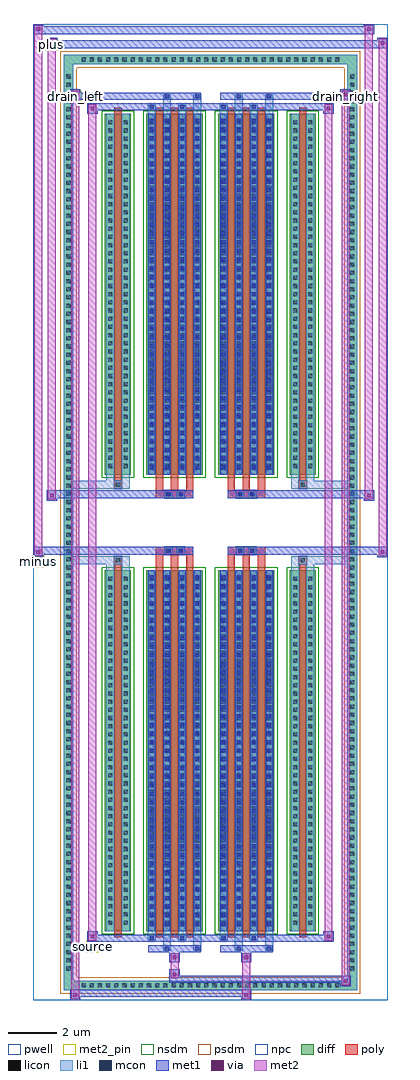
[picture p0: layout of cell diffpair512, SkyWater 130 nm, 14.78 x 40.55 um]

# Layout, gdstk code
import gdstk
lib = gdstk.Library(unit=1e-6, precision=5e-09)
def R(c, l, rs):  # rectangles x0, y0, x1, y1
    for r in rs: c.add(gdstk.rectangle(r[:2], r[2:], *l))
def A(c, l, x, y, w, h, nx, ny, dx, dy):  # array of equal rectangles
    R(c, l, [(x+i*dx, y+j*dy, x+i*dx+w, y+j*dy+h) for i in range(nx) for j in range(ny)])
def P(c, l, *ps):  # polygons
    for p in ps: c.add(gdstk.Polygon(p, *l))
pwell = (64, 44)
diff = (65, 20)
poly = (66, 20)
licon = (66, 44)
li1 = (67, 20)
mcon = (67, 44)
met1 = (68, 20)
via = (68, 44)
met2_pin = (69, 16)
met2 = (69, 20)
nsdm = (93, 44)
psdm = (94, 20)
npc = (95, 20)

diffpair512 = lib.new_cell('diffpair512')
R(diffpair512, pwell, [(-7.37,-19.84,7.37,20.71), (-4.69,-18.03,-0.01,-0.805), (0.01,-18.03,4.69,-0.805), (-4.69,0.805,-0.01,18.03), (0.01,0.805,4.69,18.03)])
A(diffpair512, diff, -5.475, -19.44, 0.41, 0.41, 32, 2, 0.34, 38.47)
A(diffpair512, diff, -6.1, -18.735, 0.41, 0.41, 1, 110, 0, 0.34)
A(diffpair512, diff, 5.69, -18.735, 0.41, 0.41, 1, 110, 0, 0.34)
R(diffpair512, diff, [(-5.475,-19.44,5.475,-19.03), (-6.1,-18.735,-5.69,18.735), (5.69,-18.735,6.1,18.735), (-4.38,-16.985,-3.3,-1.985), (-2.66,-16.985,-0.32,-1.985), (0.32,-16.985,2.66,-1.985), (3.3,-16.985,4.38,-1.985), (-4.38,1.985,-3.3,16.985), (-2.66,1.985,-0.32,16.985), (0.32,1.985,2.66,16.985), (3.3,1.985,4.38,16.985), (-5.475,19.03,5.475,19.44)])
P(diffpair512, diff, [(6.1,19.44),(-6.1,19.44),(-6.1,-19.03),(-5.69,-19.03),(-5.69,19.03),(5.69,19.03),(5.69,-19.03),(-5.69,-19.03),(-6.1,-19.03),(-6.1,-19.44),(6.1,-19.44)])
A(diffpair512, poly, -2.27, -17.235, 0.3, 15.5, 3, 2, 0.63, 18.97)
A(diffpair512, poly, 0.71, -17.235, 0.3, 15.5, 3, 2, 0.63, 18.97)
A(diffpair512, poly, -2.27, -1.735, 0.3, 0.4, 3, 2, 0.63, 3.07)
A(diffpair512, poly, 0.71, -1.735, 0.3, 0.4, 3, 2, 0.63, 3.07)
R(diffpair512, poly, [(-3.99,-17.235,-3.69,-1.735), (3.69,-17.235,3.99,-1.735), (-4.005,-1.735,-3.675,-1.405), (-4.005,-1.735,-3.675,-1.405), (3.675,-1.735,4.005,-1.405), (3.675,-1.735,4.005,-1.405), (-2.27,-1.335,-0.71,-1.005), (-1.905,-1.335,-1.575,-1.005), (-1.405,-1.335,-1.075,-1.005), (0.71,-1.335,2.27,-1.005), (1.075,-1.335,1.405,-1.005), (1.575,-1.335,1.905,-1.005), (-2.27,1.005,-0.71,1.335), (-1.905,1.005,-1.575,1.335), (-1.405,1.005,-1.075,1.335), (0.71,1.005,2.27,1.335), (1.075,1.005,1.405,1.335), (1.575,1.005,1.905,1.335), (-4.005,1.405,-3.675,1.735), (-4.005,1.405,-3.675,1.735), (3.675,1.405,4.005,1.735), (3.675,1.405,4.005,1.735), (-3.99,1.735,-3.69,17.235), (3.69,1.735,3.99,17.235)])
A(diffpair512, licon, -5.355, -19.32, 0.17, 0.17, 32, 2, 0.34, 38.47)
A(diffpair512, licon, -5.98, -18.615, 0.17, 0.17, 1, 110, 0, 0.34)
A(diffpair512, licon, 5.81, -18.615, 0.17, 0.17, 1, 110, 0, 0.34)
A(diffpair512, licon, -4.24, -16.71, 0.17, 0.17, 1, 43, 0, 0.34)
A(diffpair512, licon, -3.61, -16.71, 0.17, 0.17, 1, 43, 0, 0.34)
A(diffpair512, licon, -2.52, -16.71, 0.17, 0.17, 4, 43, 0.63, 0.34)
A(diffpair512, licon, 0.46, -16.71, 0.17, 0.17, 4, 43, 0.63, 0.34)
A(diffpair512, licon, 3.44, -16.71, 0.17, 0.17, 1, 43, 0, 0.34)
A(diffpair512, licon, 4.07, -16.71, 0.17, 0.17, 1, 43, 0, 0.34)
A(diffpair512, licon, -4.24, 2.26, 0.17, 0.17, 1, 43, 0, 0.34)
A(diffpair512, licon, -3.61, 2.26, 0.17, 0.17, 1, 43, 0, 0.34)
A(diffpair512, licon, -2.52, 2.26, 0.17, 0.17, 4, 43, 0.63, 0.34)
A(diffpair512, licon, 0.46, 2.26, 0.17, 0.17, 4, 43, 0.63, 0.34)
A(diffpair512, licon, 3.44, 2.26, 0.17, 0.17, 1, 43, 0, 0.34)
A(diffpair512, licon, 4.07, 2.26, 0.17, 0.17, 1, 43, 0, 0.34)
R(diffpair512, licon, [(-3.925,-1.655,-3.755,-1.485), (3.755,-1.655,3.925,-1.485), (-1.825,-1.255,-1.655,-1.085), (-1.325,-1.255,-1.155,-1.085), (1.155,-1.255,1.325,-1.085), (1.655,-1.255,1.825,-1.085), (-1.825,1.085,-1.655,1.255), (-1.325,1.085,-1.155,1.255), (1.155,1.085,1.325,1.255), (1.655,1.085,1.825,1.255), (-3.925,1.485,-3.755,1.655), (3.755,1.485,3.925,1.655)])
A(diffpair512, li1, -5.435, -19.4, 0.33, 0.33, 32, 2, 0.34, 38.47)
A(diffpair512, li1, -6.06, -18.695, 0.33, 0.33, 1, 110, 0, 0.34)
A(diffpair512, li1, 5.73, -18.695, 0.33, 0.33, 1, 110, 0, 0.34)
A(diffpair512, li1, -2.6, -16.985, 0.33, 15, 4, 2, 0.63, 18.97)
A(diffpair512, li1, 0.38, -16.985, 0.33, 15, 4, 2, 0.63, 18.97)
A(diffpair512, li1, -4.32, -16.79, 0.33, 0.33, 1, 43, 0, 0.34)
A(diffpair512, li1, -3.69, -16.79, 0.33, 0.33, 1, 43, 0, 0.34)
A(diffpair512, li1, -2.6, -16.79, 0.33, 0.33, 4, 43, 0.63, 0.34)
A(diffpair512, li1, 0.38, -16.79, 0.33, 0.33, 4, 43, 0.63, 0.34)
A(diffpair512, li1, 3.36, -16.79, 0.33, 0.33, 1, 43, 0, 0.34)
A(diffpair512, li1, 3.99, -16.79, 0.33, 0.33, 1, 43, 0, 0.34)
A(diffpair512, li1, -2.52, -16.77, 0.17, 0.17, 4, 41, 0.63, 0.36)
A(diffpair512, li1, -2.52, -16.77, 0.17, 14.57, 4, 2, 0.63, 18.97)
A(diffpair512, li1, 0.46, -16.77, 0.17, 0.17, 4, 41, 0.63, 0.36)
A(diffpair512, li1, 0.46, -16.77, 0.17, 14.57, 4, 2, 0.63, 18.97)
A(diffpair512, li1, -4.32, 2.18, 0.33, 0.33, 1, 43, 0, 0.34)
A(diffpair512, li1, -3.69, 2.18, 0.33, 0.33, 1, 43, 0, 0.34)
A(diffpair512, li1, -2.6, 2.18, 0.33, 0.33, 4, 43, 0.63, 0.34)
A(diffpair512, li1, 0.38, 2.18, 0.33, 0.33, 4, 43, 0.63, 0.34)
A(diffpair512, li1, 3.36, 2.18, 0.33, 0.33, 1, 43, 0, 0.34)
A(diffpair512, li1, 3.99, 2.18, 0.33, 0.33, 1, 43, 0, 0.34)
A(diffpair512, li1, -2.52, 2.2, 0.17, 0.17, 4, 41, 0.63, 0.36)
A(diffpair512, li1, 0.46, 2.2, 0.17, 0.17, 4, 41, 0.63, 0.36)
R(diffpair512, li1, [(-6.1,-19.44,-5.69,-19.03), (-6.1,-19.44,-5.69,-19.03), (-5.69,-19.44,5.69,-19.03), (5.69,-19.44,6.1,-19.03), (5.69,-19.44,6.1,-19.03), (-6.1,-19.03,-5.69,19.03), (5.69,-19.03,6.1,19.03), (-1.97,-17.79,-1.64,-16.985), (-1.89,-17.79,-1.72,-17.62), (-0.71,-17.79,-0.38,-16.985), (-0.63,-17.79,-0.46,-17.62), (1.01,-17.79,1.34,-16.985), (1.09,-17.79,1.26,-17.62), (2.27,-17.79,2.6,-16.985), (2.35,-17.79,2.52,-17.62), (-2.6,-17.36,-2.27,-16.985), (-2.52,-17.36,-2.35,-17.19), (-1.34,-17.36,-1.01,-16.985), (-1.26,-17.36,-1.09,-17.19), (0.38,-17.36,0.71,-16.985), (0.46,-17.36,0.63,-17.19), (1.64,-17.36,1.97,-16.985), (1.72,-17.36,1.89,-17.19), (-4.32,-16.985,-3.99,-1.985), (-3.69,-16.985,-3.36,-1.985), (3.36,-16.985,3.69,-1.985), (3.99,-16.985,4.32,-1.985), (-4.32,-1.985,-3.99,-1.405), (-3.69,-1.985,-3.36,-1.405), (3.36,-1.985,3.69,-1.405), (3.99,-1.985,4.32,-1.405), (-6.1,-1.735,-4.005,-1.405), (-4.32,-1.735,-4.005,-1.405), (-4.005,-1.735,-3.675,-1.405), (-3.675,-1.735,-3.36,-1.405), (3.36,-1.735,3.675,-1.405), (3.675,-1.735,4.005,-1.405), (3.675,-1.735,6.1,-1.405), (4.005,-1.735,4.32,-1.405), (-1.905,-1.335,-1.575,-1.005), (-1.405,-1.335,-1.075,-1.005), (1.075,-1.335,1.405,-1.005), (1.575,-1.335,1.905,-1.005), (-1.905,1.005,-1.575,1.335), (-1.405,1.005,-1.075,1.335), (1.075,1.005,1.405,1.335), (1.575,1.005,1.905,1.335), (-6.1,1.405,-4.005,1.735), (-4.32,1.405,-4.005,1.735), (-4.32,1.405,-3.99,1.985), (-4.005,1.405,-3.675,1.735), (-3.69,1.405,-3.36,1.985), (-3.675,1.405,-3.36,1.735), (3.36,1.405,3.675,1.735), (3.36,1.405,3.69,1.985), (3.675,1.405,4.005,1.735), (3.675,1.405,6.1,1.735), (3.99,1.405,4.32,1.985), (4.005,1.405,4.32,1.735), (-4.32,1.985,-3.99,16.985), (-3.69,1.985,-3.36,16.985), (3.36,1.985,3.69,16.985), (3.99,1.985,4.32,16.985), (-2.6,16.985,-2.27,17.36), (-1.97,16.985,-1.64,17.79), (-1.34,16.985,-1.01,17.36), (-0.71,16.985,-0.38,17.79), (0.38,16.985,0.71,17.36), (1.01,16.985,1.34,17.79), (1.64,16.985,1.97,17.36), (2.27,16.985,2.6,17.79), (-2.52,17.19,-2.35,17.36), (-1.26,17.19,-1.09,17.36), (0.46,17.19,0.63,17.36), (1.72,17.19,1.89,17.36), (-1.89,17.62,-1.72,17.79), (-0.63,17.62,-0.46,17.79), (1.09,17.62,1.26,17.79), (2.35,17.62,2.52,17.79), (-6.1,19.03,-5.69,19.44), (-6.1,19.03,-5.69,19.44), (-5.69,19.03,5.69,19.44), (5.69,19.03,6.1,19.44), (5.69,19.03,6.1,19.44)])
A(diffpair512, mcon, -2.52, -16.77, 0.17, 0.17, 4, 41, 0.63, 0.36)
A(diffpair512, mcon, 0.46, -16.77, 0.17, 0.17, 4, 41, 0.63, 0.36)
A(diffpair512, mcon, -2.52, 2.2, 0.17, 0.17, 4, 41, 0.63, 0.36)
A(diffpair512, mcon, 0.46, 2.2, 0.17, 0.17, 4, 41, 0.63, 0.36)
R(diffpair512, mcon, [(-1.89,-17.79,-1.72,-17.62), (-0.63,-17.79,-0.46,-17.62), (1.09,-17.79,1.26,-17.62), (2.35,-17.79,2.52,-17.62), (-2.52,-17.36,-2.35,-17.19), (-1.26,-17.36,-1.09,-17.19), (0.46,-17.36,0.63,-17.19), (1.72,-17.36,1.89,-17.19), (-1.825,-1.255,-1.655,-1.085), (-1.325,-1.255,-1.155,-1.085), (1.155,-1.255,1.325,-1.085), (1.655,-1.255,1.825,-1.085), (-1.825,1.085,-1.655,1.255), (-1.325,1.085,-1.155,1.255), (1.155,1.085,1.325,1.255), (1.655,1.085,1.825,1.255), (-2.52,17.19,-2.35,17.36), (-1.26,17.19,-1.09,17.36), (0.46,17.19,0.63,17.36), (1.72,17.19,1.89,17.36), (-1.89,17.62,-1.72,17.79), (-0.63,17.62,-0.46,17.79), (1.09,17.62,1.26,17.79), (2.35,17.62,2.52,17.79)])
A(diffpair512, met1, -2.58, -16.985, 0.29, 15, 4, 2, 0.63, 18.97)
A(diffpair512, met1, 0.4, -16.985, 0.29, 15, 4, 2, 0.63, 18.97)
A(diffpair512, met1, -2.58, -16.83, 0.29, 0.29, 4, 41, 0.63, 0.36)
A(diffpair512, met1, 0.4, -16.83, 0.29, 0.29, 4, 41, 0.63, 0.36)
A(diffpair512, met1, -2.58, 2.14, 0.29, 0.29, 4, 41, 0.63, 0.36)
A(diffpair512, met1, 0.4, 2.14, 0.29, 0.29, 4, 41, 0.63, 0.36)
R(diffpair512, met1, [(-5.83,-19.84,-5.4,-19.41), (1.275,-19.84,1.705,-19.41), (-5.83,-19.7,1.705,-19.41), (5.4,-19.27,5.83,-18.84), (-1.705,-19.13,5.83,-18.84), (-1.705,-18.99,-1.275,-18.56), (-1.705,-18.28,-1.275,-17.85), (1.275,-18.28,1.705,-17.85), (-2.58,-17.85,-0.4,-17.56), (-1.95,-17.85,-1.66,-17.56), (-0.69,-17.85,-0.4,-17.56), (0.4,-17.85,2.58,-17.56), (1.03,-17.85,1.32,-17.56), (2.29,-17.85,2.58,-17.56), (-5.12,-17.42,-4.69,-16.99), (-5.12,-17.42,-2.58,-17.13), (-2.58,-17.42,-2.29,-17.13), (-2.58,-17.42,-0.4,-17.13), (-1.32,-17.42,-1.03,-17.13), (-0.4,-17.42,0.4,-17.13), (0.4,-17.42,0.69,-17.13), (0.4,-17.42,2.58,-17.13), (1.66,-17.42,1.95,-17.13), (2.58,-17.42,5.12,-17.13), (4.69,-17.42,5.12,-16.99), (-7.37,-1.435,-6.94,-1.005), (6.94,-1.435,7.37,-1.005), (-7.37,-1.335,-0.71,-1.005), (-2.27,-1.335,-0.71,-1.005), (0.71,-1.335,2.27,-1.005), (0.71,-1.335,7.37,-1.005), (-1.885,-1.315,-1.595,-1.025), (-1.385,-1.315,-1.095,-1.025), (1.095,-1.315,1.385,-1.025), (1.595,-1.315,1.885,-1.025), (-6.8,0.905,-6.37,1.335), (6.37,0.905,6.8,1.335), (-6.8,1.005,-2.27,1.335), (-2.27,1.005,-0.71,1.335), (0.71,1.005,2.27,1.335), (2.27,1.005,6.8,1.335), (-1.885,1.025,-1.595,1.315), (-1.385,1.025,-1.095,1.315), (1.095,1.025,1.385,1.315), (1.595,1.025,1.885,1.315), (-5.12,16.99,-4.69,17.42), (4.69,16.99,5.12,17.42), (-5.12,17.13,-2.58,17.42), (-2.58,17.13,-2.29,17.42), (-2.58,17.13,-0.4,17.42), (-1.32,17.13,-1.03,17.42), (-0.4,17.13,0.4,17.42), (0.4,17.13,0.69,17.42), (0.4,17.13,2.58,17.42), (1.66,17.13,1.95,17.42), (2.58,17.13,5.12,17.42), (-5.83,17.56,-5.4,17.99), (-5.83,17.56,-2.58,17.85), (-2.58,17.56,-0.4,17.85), (-1.95,17.56,-1.66,17.85), (-0.69,17.56,-0.4,17.85), (0.4,17.56,2.58,17.85), (1.03,17.56,1.32,17.85), (2.29,17.56,2.58,17.85), (2.58,17.56,5.83,17.85), (5.4,17.56,5.83,17.99), (-6.8,19.71,-6.37,20.14), (-6.8,19.71,-4.69,20.04), (-4.69,19.71,4.69,20.04), (4.69,19.71,7.37,20.04), (6.94,19.71,7.37,20.14), (-7.37,20.28,-6.94,20.71), (-7.37,20.28,-4.69,20.61), (-4.69,20.28,4.69,20.61), (4.69,20.28,6.8,20.61), (6.37,20.28,6.8,20.71)])
R(diffpair512, via, [(-5.69,-19.7,-5.54,-19.55), (1.415,-19.7,1.565,-19.55), (5.54,-19.13,5.69,-18.98), (-1.565,-18.85,-1.415,-18.7), (-1.565,-18.14,-1.415,-17.99), (1.415,-18.14,1.565,-17.99), (-4.98,-17.28,-4.83,-17.13), (4.83,-17.28,4.98,-17.13), (-7.23,-1.295,-7.08,-1.145), (7.08,-1.295,7.23,-1.145), (-6.66,1.045,-6.51,1.195), (6.51,1.045,6.66,1.195), (-4.98,17.13,-4.83,17.28), (4.83,17.13,4.98,17.28), (-5.69,17.7,-5.54,17.85), (5.54,17.7,5.69,17.85), (-6.66,19.85,-6.51,20), (7.08,19.85,7.23,20), (-7.23,20.42,-7.08,20.57), (6.51,20.42,6.66,20.57)])
R(diffpair512, met2_pin, [(-5.155,-17.87,-4.655,-17.37), (-7.405,-1.885,-6.905,-1.385), (-5.865,17.44,-5.365,17.94), (5.365,17.44,5.865,17.94), (-6.835,19.59,-6.335,20.09)])
R(diffpair512, met2, [(-5.78,-19.79,-5.45,-19.46), (-5.78,-19.79,-5.45,17.94), (1.325,-19.79,1.655,-19.46), (1.325,-19.46,1.655,-18.23), (5.45,-19.22,5.78,-18.89), (5.45,-19.22,5.78,17.94), (-1.655,-18.94,-1.325,-18.61), (-1.655,-18.61,-1.325,-18.23), (-1.655,-18.23,-1.325,-17.9), (1.325,-18.23,1.655,-17.9), (-5.07,-17.37,-4.74,-17.04), (-5.07,-17.37,-4.74,17.37), (4.74,-17.37,5.07,-17.04), (4.74,-17.37,5.07,17.37), (-7.32,-1.385,-6.99,-1.055), (-7.32,-1.385,-6.99,20.66), (6.99,-1.385,7.32,-1.055), (6.99,-1.385,7.32,20.09), (-6.75,0.955,-6.42,1.285), (-6.75,0.955,-6.42,20.09), (6.42,0.955,6.75,1.285), (6.42,0.955,6.75,20.66), (-5.07,17.04,-4.74,17.37), (4.74,17.04,5.07,17.37), (-5.78,17.61,-5.45,17.94), (5.45,17.61,5.78,17.94), (-6.75,19.76,-6.42,20.09), (6.99,19.76,7.32,20.09), (-7.32,20.33,-6.99,20.66), (6.42,20.33,6.75,20.66)])
P(diffpair512, met2, [(7.32,-1.385),(7.32,-1.385),(7.32,-1.055),(7.32,-1.055)],
  [(7.32,19.76),(7.32,19.76),(7.32,20.09),(7.32,20.09)],
  [(-6.99,-1.385),(-6.99,-1.385),(-6.99,-1.055),(-6.99,-1.055)],
  [(-6.99,20.33),(-6.99,20.33),(-6.99,20.66),(-6.99,20.66)],
  [(6.75,0.955),(6.75,0.955),(6.75,1.285),(6.75,1.285)],
  [(6.75,20.33),(6.75,20.33),(6.75,20.66),(6.75,20.66)],
  [(-6.42,0.955),(-6.42,0.955),(-6.42,1.285),(-6.42,1.285)],
  [(-6.42,19.76),(-6.42,19.76),(-6.42,20.09),(-6.42,20.09)],
  [(-5.45,-19.79),(-5.45,-19.79),(-5.45,-19.46),(-5.45,-19.46)],
  [(-5.45,17.61),(-5.45,17.61),(-5.45,17.94),(-5.45,17.94)],
  [(5.78,-19.22),(5.78,-19.22),(5.78,-18.89),(5.78,-18.89)],
  [(5.78,17.61),(5.78,17.61),(5.78,17.94),(5.78,17.94)],
  [(-4.74,-17.37),(-4.74,-17.37),(-4.74,-17.04),(-4.74,-17.04)],
  [(-4.74,17.04),(-4.74,17.04),(-4.74,17.37),(-4.74,17.37)],
  [(5.07,-17.37),(5.07,-17.37),(5.07,-17.04),(5.07,-17.04)],
  [(5.07,17.04),(5.07,17.04),(5.07,17.37),(5.07,17.37)])
R(diffpair512, nsdm, [(-4.51,-17.115,-3.17,-1.855), (-2.79,-17.115,-0.19,-1.855), (0.19,-17.115,2.79,-1.855), (3.17,-17.115,4.51,-1.855), (-4.51,1.855,-3.17,17.115), (-2.79,1.855,-0.19,17.115), (0.19,1.855,2.79,17.115), (3.17,1.855,4.51,17.115)])
P(diffpair512, psdm, [(6.23,19.57),(-6.23,19.57),(-6.23,-18.9),(-5.56,-18.9),(-5.56,18.9),(5.56,18.9),(5.56,-18.9),(-5.56,-18.9),(-6.23,-18.9),(-6.23,-19.57),(6.23,-19.57)])
R(diffpair512, npc, [(-4.025,-1.755,-3.655,-1.385), (3.655,-1.755,4.025,-1.385), (-1.925,-1.355,-1.555,-0.985), (-1.925,-1.355,-1.055,-0.985), (-1.925,-1.355,-1.055,-0.985), (-1.425,-1.355,-1.055,-0.985), (1.055,-1.355,1.425,-0.985), (1.055,-1.355,1.925,-0.985), (1.055,-1.355,1.925,-0.985), (1.555,-1.355,1.925,-0.985), (-1.925,0.985,-1.555,1.355), (-1.925,0.985,-1.055,1.355), (-1.925,0.985,-1.055,1.355), (-1.425,0.985,-1.055,1.355), (1.055,0.985,1.425,1.355), (1.055,0.985,1.925,1.355), (1.055,0.985,1.925,1.355), (1.555,0.985,1.925,1.355), (-4.025,1.385,-3.655,1.755), (3.655,1.385,4.025,1.755)])
diffpair512.add(gdstk.Label('minus', (-7.155,-1.635), layer=69, texttype=5))
diffpair512.add(gdstk.Label('drain_right', (5.615,17.69), layer=69, texttype=5))
diffpair512.add(gdstk.Label('drain_left', (-5.615,17.69), layer=69, texttype=5))
diffpair512.add(gdstk.Label('source', (-4.905,-17.62), layer=69, texttype=5))
diffpair512.add(gdstk.Label('plus', (-6.585,19.84), layer=69, texttype=5))

lib.write_gds('diffpair512.gds')
